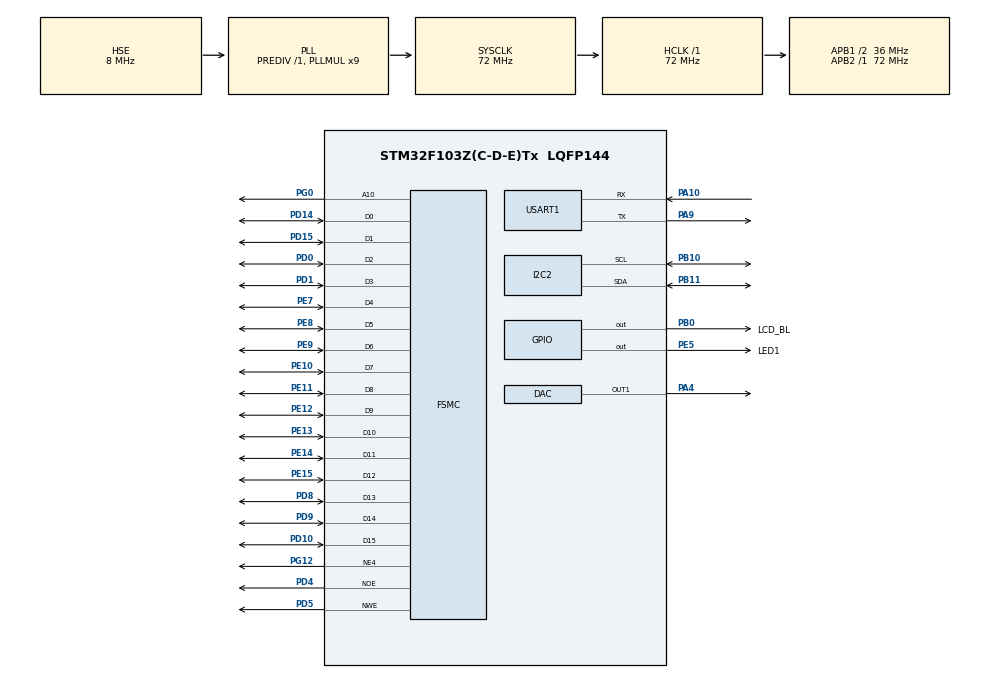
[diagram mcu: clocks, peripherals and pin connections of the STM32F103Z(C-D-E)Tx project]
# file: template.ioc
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DAC.DAC_Trigger=DAC_TRIGGER_SOFTWARE
Dma.Request0=USART1_TX
Dma.USART1_TX.0.Direction=DMA_MEMORY_TO_PERIPH
Dma.USART1_TX.0.Instance=DMA1_Channel4
Dma.USART1_TX.0.MemDataAlignment=DMA_MDATAALIGN_BYTE
Dma.USART1_TX.0.MemInc=DMA_MINC_ENABLE
Dma.USART1_TX.0.Mode=DMA_NORMAL
Dma.USART1_TX.0.PeriphDataAlignment=DMA_PDATAALIGN_BYTE
Dma.USART1_TX.0.PeriphInc=DMA_PINC_DISABLE
Dma.USART1_TX.0.Priority=DMA_PRIORITY_LOW
FSMC.AddressSetupTime1=1
FSMC.BusTurnAroundDuration1=15
FSMC.DataSetupTime1=2
FSMC.ExtendedAddressSetupTime1=0
FSMC.ExtendedDataSetupTime1=2
FSMC.ExtendedMode1=FSMC_EXTENDED_MODE_ENABLE
Mcu.Family=STM32F1
Mcu.Name=STM32F103Z(C-D-E)Tx
Mcu.Package=LQFP144
NVIC.DMA1_Channel4_IRQn=true\:0\:0\:false\:false\:true\:false\:true
NVIC.PriorityGroup=NVIC_PRIORITYGROUP_4
NVIC.USART1_IRQn=true\:0\:0\:false\:false\:true\:true\:true
OSC_IN.Mode=HSE-External-Oscillator
OSC_IN.Signal=RCC_OSC_IN
OSC_OUT.Mode=HSE-External-Oscillator
OSC_OUT.Signal=RCC_OSC_OUT
PA10.Mode=Asynchronous
PA10.Signal=USART1_RX
PA13.Mode=Serial_Wire
PA13.Signal=SYS_JTMS-SWDIO
PA14.Mode=Serial_Wire
PA14.Signal=SYS_JTCK-SWCLK
PA4.Signal=COMP_DAC1_group
PA9.Mode=Asynchronous
PA9.Signal=USART1_TX
PB0.GPIO_Label=LCD_BL
PB0.Signal=GPIO_Output
PB10.Mode=I2C
PB10.Signal=I2C2_SCL
PB11.Mode=I2C
PB11.Signal=I2C2_SDA
PC14-OSC32_IN.Mode=LSE-External-Oscillator
PC14-OSC32_IN.Signal=RCC_OSC32_IN
PC15-OSC32_OUT.Mode=LSE-External-Oscillator
PC15-OSC32_OUT.Signal=RCC_OSC32_OUT
PD0.Signal=FSMC_D2_DA2
PD1.Signal=FSMC_D3_DA3
PD10.Signal=FSMC_D15_DA15
PD14.Signal=FSMC_D0_DA0
PD15.Signal=FSMC_D1_DA1
PD4.Signal=FSMC_NOE
PD5.Signal=FSMC_NWE
PD8.Signal=FSMC_D13_DA13
PD9.Signal=FSMC_D14_DA14
PE10.Signal=FSMC_D7_DA7
PE11.Signal=FSMC_D8_DA8
PE12.Signal=FSMC_D9_DA9
PE13.Signal=FSMC_D10_DA10
PE14.Signal=FSMC_D11_DA11
PE15.Signal=FSMC_D12_DA12
PE5.GPIO_Label=LED1
PE5.Signal=GPIO_Output
PE7.Signal=FSMC_D4_DA4
PE8.Signal=FSMC_D5_DA5
PE9.Signal=FSMC_D6_DA6
PG0.Signal=FSMC_A10
PG12.Mode=NorPsramChipSelect4_1
PG12.Signal=FSMC_NE4
ProjectManager.HeapSize=0x00002000
ProjectManager.StackSize=0x00002000
ProjectManager.TargetToolchain=Makefile
RCC.AHBFreq_Value=72000000
RCC.APB1CLKDivider=RCC_HCLK_DIV2
RCC.APB1Freq_Value=36000000
RCC.APB1TimFreq_Value=72000000
RCC.APB2Freq_Value=72000000
RCC.APB2TimFreq_Value=72000000
RCC.HCLKFreq_Value=72000000
RCC.PLLMUL=RCC_PLL_MUL9
RCC.PLLSourceVirtual=RCC_PLLSOURCE_HSE
RCC.SYSCLKFreq_VALUE=72000000
RCC.SYSCLKSource=RCC_SYSCLKSOURCE_PLLCLK
RCC.USBFreq_Value=72000000
SH.COMP_DAC1_group.0=DAC_OUT1,DAC_OUT1
SH.FSMC_A10.0=FSMC_A10,A10_1
SH.FSMC_D0_DA0.0=FSMC_D0,16b-d1
SH.FSMC_D10_DA10.0=FSMC_D10,16b-d1
SH.FSMC_D11_DA11.0=FSMC_D11,16b-d1
SH.FSMC_D12_DA12.0=FSMC_D12,16b-d1
SH.FSMC_D13_DA13.0=FSMC_D13,16b-d1
SH.FSMC_D14_DA14.0=FSMC_D14,16b-d1
SH.FSMC_D15_DA15.0=FSMC_D15,16b-d1
SH.FSMC_D1_DA1.0=FSMC_D1,16b-d1
SH.FSMC_D2_DA2.0=FSMC_D2,16b-d1
SH.FSMC_D3_DA3.0=FSMC_D3,16b-d1
SH.FSMC_D4_DA4.0=FSMC_D4,16b-d1
SH.FSMC_D5_DA5.0=FSMC_D5,16b-d1
SH.FSMC_D6_DA6.0=FSMC_D6,16b-d1
SH.FSMC_D7_DA7.0=FSMC_D7,16b-d1
SH.FSMC_D8_DA8.0=FSMC_D8,16b-d1
SH.FSMC_D9_DA9.0=FSMC_D9,16b-d1
SH.FSMC_NOE.0=FSMC_NOE,Lcd1
SH.FSMC_NWE.0=FSMC_NWE,Lcd1
USART1.VirtualMode=VM_ASYNC
board=custom

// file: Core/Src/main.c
/* USER CODE BEGIN Header */
/**
  ******************************************************************************
  * @file           : main.c
  * @brief          : Main program body
  ******************************************************************************
  * @attention
  *
  * <h2><center>&copy; Copyright (c) 2021 STMicroelectronics.
  * All rights reserved.</center></h2>
  *
  * This software component is licensed by ST under BSD 3-Clause license,
  * the "License"; You may not use this file except in compliance with the
  * License. You may obtain a copy of the License at:
  *                        opensource.org/licenses/BSD-3-Clause
  *
  ******************************************************************************
  */
/* USER CODE END Header */
#include "main.h"
#include "dac.h"
#include "dma.h"
#include "i2c.h"
#include "usart.h"
#include "gpio.h"
#include "fsmc.h"

/* USER CODE BEGIN Includes */
#include <stdio.h>
#include <string.h>
#include "LCD.h"
#include "GT9147.h"
#include "lvgl.h"
#include "SHT30.h"
/* USER CODE END Includes */

/* USER CODE BEGIN PD */
#define LVGL_TICK 	5
/* USER CODE END PD */

/* USER CODE BEGIN PV */

uint8_t recv_dat[6] = {0};
float temperature = 0.0;
float humidity = 0.0;
char temp_str[10];
char humi_str[10];
/* USER CODE END PV */

void SystemClock_Config(void);
/* USER CODE BEGIN PFP */
void touchdev_test(void){
	uint8_t t=0;
	uint8_t i=0;
 	uint16_t lastpos[5][2];		//最后一次的数据
	while(1)
	{
		touchdev.scan(0);
		for(t=0;t<5;t++)
		{
			if((touchdev.sta)&(1<<t))
			{
                //printf("X坐标:%d,Y坐标:%d\r\n",touchdev.x[0],touchdev.y[0]);
				if(touchdev.x[t]<lcddev.width&&touchdev.y[t]<lcddev.height)
				{
					printf("x:%d y:%d\r\n",touchdev.x[0],touchdev.y[0]);
				}
			}else lastpos[t][0]=0XFFFF;
		}
		HAL_Delay(5);
	}
}

/* USER CODE END PFP */

int main(void)
{

  /* MCU Configuration--------------------------------------------------------*/

  /* Reset of all peripherals, Initializes the Flash interface and the Systick. */
  HAL_Init();

  /* Configure the system clock */
  SystemClock_Config();

  /* Initialize all configured peripherals */
  MX_GPIO_Init();
  MX_DMA_Init();
  MX_FSMC_Init();
  MX_USART1_UART_Init();
  MX_I2C2_Init();
  MX_DAC_Init();
  /* USER CODE BEGIN 2 */

  /* 初始化 LVGL */
  HAL_GPIO_WritePin(LCD_BL_GPIO_Port,LCD_BL_Pin,GPIO_PIN_SET);
  lv_init();
  lv_port_disp_init();        // 显示器初始化
  lv_port_indev_init();       // 输入设备初始化（如果没有实现就注释掉）
  // lv_port_fs_init();          // 文件系统设备初始化（如果没有实现就注释掉）

  lv_example_btn_1();
  //lv_example_label_1();
  SHT30_bar();
  //lv_example_arc_2();
  //lv_example_keyboard_1();

    SHT30_Reset();
  if(SHT30_Init() == HAL_OK)
    printf("sht30 init ok.\r\n");
  else
    printf("sht30 init fail.\r\n");

  uint32_t tick[5];
  tick[0]=HAL_GetTick()+1;

  /* USER CODE END 2 */

  /* Infinite loop */
  /* USER CODE BEGIN WHILE */
  while (1)
  {

    lv_tick_inc(LVGL_TICK);
		lv_task_handler();
    HAL_Delay(LVGL_TICK);
    if((HAL_GetTick()-tick[0])>1000){
      tick[0]=HAL_GetTick();
      //printf("alive\r\n");

    if(SHT30_Read_Dat(recv_dat) == HAL_OK){
        if(SHT30_Dat_To_Float(recv_dat, &temperature, &humidity)==0){
          extern lv_obj_t * temp_bar;
          extern lv_obj_t * temp_label;
          extern lv_obj_t * humi_bar;
          extern lv_obj_t * humi_label;
          lv_bar_set_value(temp_bar, temperature, LV_ANIM_ON);
          lv_bar_set_value(humi_bar, humidity, LV_ANIM_ON);
          sprintf(temp_str,"%.2fC",temperature);
          sprintf(humi_str,"%.2f%%",humidity);
          lv_label_set_text(temp_label,temp_str);
          lv_label_set_text(humi_label,humi_str);
          //printf("Temp: %.2fC Humi: %.2f%%\r\n",temperature,humidity);
        }else{
          printf("crc check fail.\r\n");
        }
      }else{
        printf("read data from sht30 fail.\r\n");
      }
      HAL_GPIO_TogglePin(LED1_GPIO_Port,LED1_Pin);
    }

    //
    /* USER CODE END WHILE */

  }
}

void SystemClock_Config(void)
{
  RCC_OscInitTypeDef RCC_OscInitStruct = {0};
  RCC_ClkInitTypeDef RCC_ClkInitStruct = {0};

  /** Initializes the RCC Oscillators according to the specified parameters
  * in the RCC_OscInitTypeDef structure.
  */
  RCC_OscInitStruct.OscillatorType = RCC_OSCILLATORTYPE_HSE;
  RCC_OscInitStruct.HSEState = RCC_HSE_ON;
  RCC_OscInitStruct.HSEPredivValue = RCC_HSE_PREDIV_DIV1;
  RCC_OscInitStruct.HSIState = RCC_HSI_ON;
  RCC_OscInitStruct.PLL.PLLState = RCC_PLL_ON;
  RCC_OscInitStruct.PLL.PLLSource = RCC_PLLSOURCE_HSE;
  RCC_OscInitStruct.PLL.PLLMUL = RCC_PLL_MUL9;
  if (HAL_RCC_OscConfig(&RCC_OscInitStruct) != HAL_OK)
  {
    Error_Handler();
  }
  /** Initializes the CPU, AHB and APB buses clocks
  */
  RCC_ClkInitStruct.ClockType = RCC_CLOCKTYPE_HCLK|RCC_CLOCKTYPE_SYSCLK
                              |RCC_CLOCKTYPE_PCLK1|RCC_CLOCKTYPE_PCLK2;
  RCC_ClkInitStruct.SYSCLKSource = RCC_SYSCLKSOURCE_PLLCLK;
  RCC_ClkInitStruct.AHBCLKDivider = RCC_SYSCLK_DIV1;
  RCC_ClkInitStruct.APB1CLKDivider = RCC_HCLK_DIV2;
  RCC_ClkInitStruct.APB2CLKDivider = RCC_HCLK_DIV1;

  if (HAL_RCC_ClockConfig(&RCC_ClkInitStruct, FLASH_LATENCY_2) != HAL_OK)
  {
    Error_Handler();
  }
}

void Error_Handler(void)
{
  __disable_irq();
  while (1)
  {
  }
}

/************************ (C) COPYRIGHT STMicroelectronics *****END OF FILE****/
